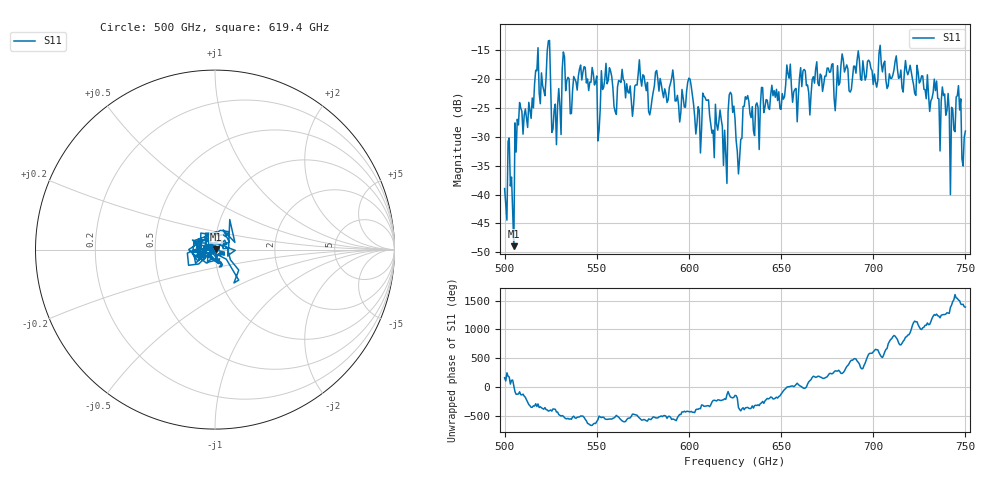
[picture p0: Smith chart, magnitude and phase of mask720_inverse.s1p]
!Created with skrf (http://scikit-rf.org).
# GHz S MA R 50.0
!freq magS11 angS11
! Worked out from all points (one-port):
!   401 points, 500 GHz to 750 GHz, reference 50 ohm
!   lowest |S11| = -48.9 dB at 505 GHz (marker M1), VSWR 1.01, Z = 50.3 + j0.101 ohm
!   |S11| at or under -10 dB: start of sweep to end of sweep
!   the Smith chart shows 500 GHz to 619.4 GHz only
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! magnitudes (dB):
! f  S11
! 500 GHz  -39.0
! 505 GHz  -48.9
! 508.1 GHz  -24.1
! 513.1 GHz  -24.0
! 517.5 GHz  -18.6
! 520.6 GHz  -21.1
! 523.8 GHz  -13.4
! 526.9 GHz  -25.4
! 531.2 GHz  -18.3
! 548.8 GHz  -21.0
! 551.9 GHz  -25.2
! 553.8 GHz  -21.5
! 562.5 GHz  -20.4
! 593.8 GHz  -22.8
! 600.6 GHz  -20.0
! 605 GHz  -24.8
! 608.8 GHz  -23.2
! 619.4 GHz  -28.9
! 622.5 GHz  -22.3
! 625 GHz  -26.9
! 627.5 GHz  -33.8
! 630.6 GHz  -23.1
! 656.2 GHz  -24.0
! 687.5 GHz  -22.3
! 718.8 GHz  -19.3
! 743.1 GHz  -25.2
! 746.2 GHz  -21.2
! 750 GHz  -29.0
